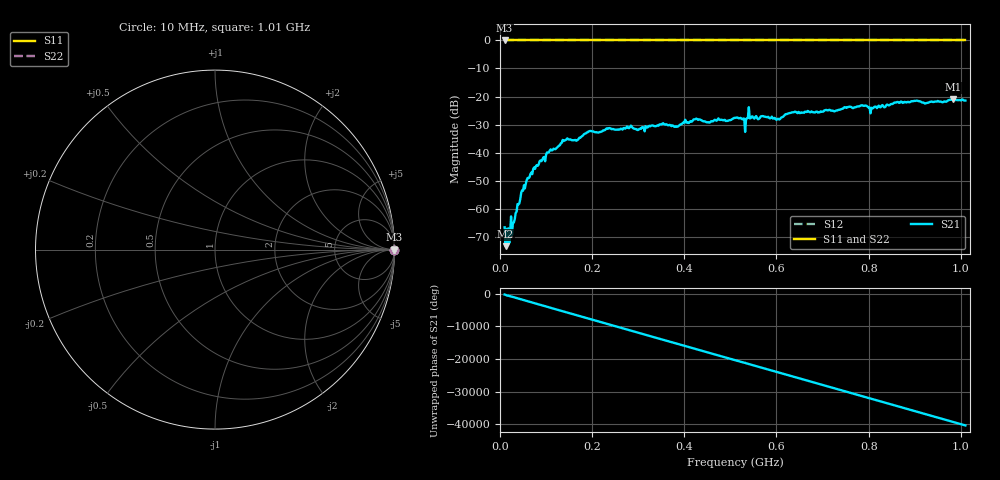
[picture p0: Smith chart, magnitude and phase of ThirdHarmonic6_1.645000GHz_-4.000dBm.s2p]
! 8/16/2025 7:40:55 PM
! C:\ANRITSUVNA\TEMP\TEMP.S2P
! CHANNEL.1
! TR.MEASUREMENT
! RAW.DATA
! RF.CORRECTION.OFF
! AVERAGING.OFF
! IF.BANDWIDTH: 5KHZ
! SWEEPTYPE:  FREQ.SWEEP(Linear)
! Reference Plane Port Info
! PORT:  PORT1  PORT2
! DISTANCE:  0  m  0  m
! TIME:  0  s  0  s
! PHASE.OFFSET:  0  deg.  0  deg.
! LOSS:  0  dB  0  dB
! REF.LOSS:  0  dB  0  dB
! REF.FREQ:  0  Hz  0  Hz
! Power Info
! POWER:  -20  dBm  -20  dBm
! EFF.POWER:  -20  dBm  -20  dBm
! SOURCE.ATTEN:  0  dB  0  dB
! TEST.ATTEN:  0  dB  0  dB
# GHZ S RI R 50.0
! FREQ.GHZ  S11RE  S11IM  S21RE  S21IM  S12RE  S12IM  S22RE  S22IM
!; PortSelection: Port_12
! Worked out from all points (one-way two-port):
!   501 points, 10 MHz to 1.01 GHz, reference 50 ohm
!   highest |S21| = -20.98 dB at 984 MHz (marker M1); lowest = -73.4 dB at 12 MHz (marker M2)
!   lowest |S11| = 0.0 dB at 10 MHz (marker M3)
!   |S11| at or under -10 dB: nowhere
!   |S22| runs from 0.0 to 0.0 dB; largest |S21 - S12| = 1.1
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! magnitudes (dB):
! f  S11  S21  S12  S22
! 10 MHz  0.0  -66.7  0.0  0.0
! 12 MHz  0.0  -73.4  0.0  0.0
! 16 MHz  0.0  -72.7  0.0  0.0
! 24 MHz  0.0  -62.8  0.0  0.0
! 48 MHz  0.0  -53.5  0.0  0.0
! 76 MHz  0.0  -45.8  0.0  0.0
! 140 MHz  0.0  -35.7  0.0  0.0
! 178 MHz  0.0  -34.1  0.0  0.0
! 234 MHz  0.0  -31.5  0.0  0.0
! 344 MHz  0.0  -30.4  0.0  0.0
! 382 MHz  0.0  -30.6  0.0  0.0
! 424 MHz  0.0  -28.1  0.0  0.0
! 452 MHz  0.0  -29.1  0.0  0.0
! 510 MHz  0.0  -27.6  0.0  0.0
! 530 MHz  0.0  -27.9  0.0  0.0
! 544 MHz  0.0  -27.7  0.0  0.0
! 604 MHz  0.0  -28.0  0.0  0.0
! 636 MHz  0.0  -25.6  0.0  0.0
! 678 MHz  0.0  -25.6  0.0  0.0
! 844 MHz  0.0  -23.2  0.0  0.0
! 984 MHz  0.0  -21.0  0.0  0.0
! 1.01 GHz  0.0  -21.5  0.0  0.0
